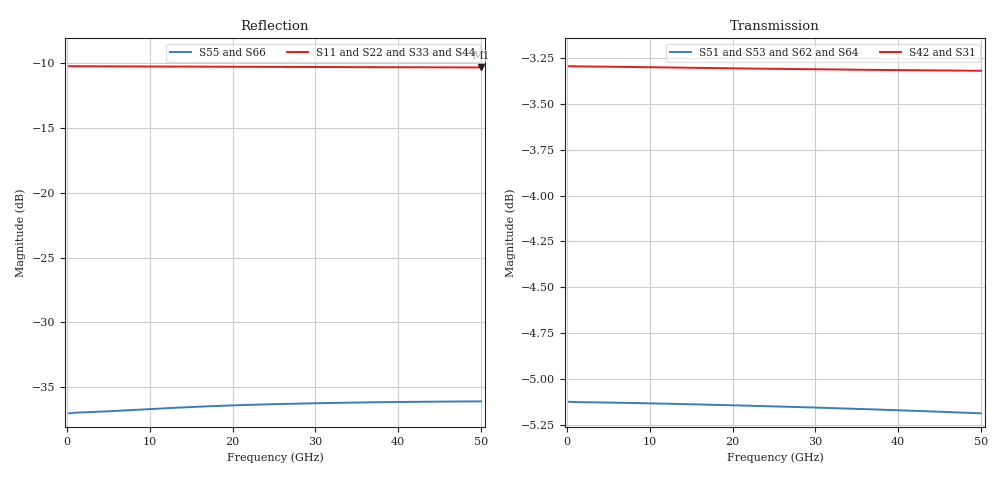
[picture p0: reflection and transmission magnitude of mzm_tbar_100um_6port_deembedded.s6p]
! Created with skrf 1.11.0 (http://scikit-rf.org).
! Data is not renormalized
! S-parameter uses the power definition
# GHz S RI R
! Port[1] = o1
! Port[2] = o2
! Port[3] = o3
! Port[4] = o4
! Port[5] = upper_tbar_1
! Port[6] = lower_tbar_1
!freq ReS11 ImS11 ReS12 ImS12 ReS13 ImS13
! ReS14 ImS14 ReS15 ImS15 ReS16 ImS16
! ReS21 ImS21 ReS22 ImS22 ReS23 ImS23
! ReS24 ImS24 ReS25 ImS25 ReS26 ImS26
! ReS31 ImS31 ReS32 ImS32 ReS33 ImS33
! ReS34 ImS34 ReS35 ImS35 ReS36 ImS36
! ReS41 ImS41 ReS42 ImS42 ReS43 ImS43
! ReS44 ImS44 ReS45 ImS45 ReS46 ImS46
! ReS51 ImS51 ReS52 ImS52 ReS53 ImS53
! ReS54 ImS54 ReS55 ImS55 ReS56 ImS56
! ReS61 ImS61 ReS62 ImS62 ReS63 ImS63
! ReS64 ImS64 ReS65 ImS65 ReS66 ImS66
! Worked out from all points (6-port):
!   200 points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, 259.9 MHz to 50 GHz, reference per port
!   strongest paths, dB at 259.9 MHz, 12.76 GHz, 25.25 GHz, 37.75 GHz, 50 GHz:
!     S42: -3.3, -3.3, -3.3, -3.3, -3.3
!     S31: -3.3, -3.3, -3.3, -3.3, -3.3
!     S51: -5.1, -5.1, -5.1, -5.2, -5.2
!     S53: -5.1, -5.1, -5.1, -5.2, -5.2
!     S62: -5.1, -5.1, -5.1, -5.2, -5.2
!     S64: -5.1, -5.1, -5.1, -5.2, -5.2
!   lowest |S11| = -10.3 dB at 50 GHz (marker M1), VSWR 1.88
!   |S11| at or under -10 dB: start of sweep to end of sweep
